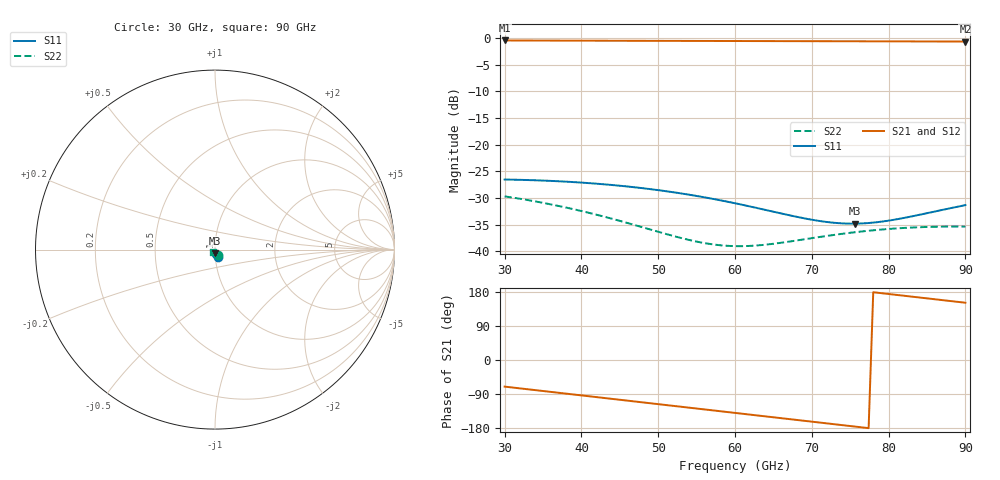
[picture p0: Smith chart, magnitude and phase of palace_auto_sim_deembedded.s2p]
! Created with skrf 1.11.0 (http://scikit-rf.org).
# GHz S DB R 50.0
!freq dBS11 angS11 dBS21 angS21 dBS12 angS12 dBS22 angS22
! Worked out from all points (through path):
!   101 points, 30 GHz to 90 GHz, reference 50 ohm
!   highest |S21| = -0.47 dB at 30 GHz (marker M1); lowest = -0.7 dB at 90 GHz (marker M2)
!   group delay of S21, straight-line fit = 6.42 ps
!   lowest |S11| = -34.8 dB at 75.6 GHz (marker M3), VSWR 1.04, Z = 49.8 - j1.8 ohm
!   |S11| at or under -10 dB: start of sweep to end of sweep
!   |S22| runs from -39.0 to -29.7 dB; largest |S21 - S12| = 1.1e-14
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30  -26.53 -65.7  -0.47 -70.2  -0.47 -70.2  -29.69 -64.4
33  -26.63 -72.7  -0.48 -77.2  -0.48 -77.2  -30.38 -71.2
35.4  -26.75 -78.1  -0.49 -82.7  -0.49 -82.7  -31.01 -76.3
37.8  -26.91 -83.2  -0.50 -88.3  -0.50 -88.3  -31.72 -81.0
40.2  -27.12 -88.2  -0.51 -93.8  -0.51 -93.8  -32.50 -85.4
42.6  -27.38 -92.9  -0.52 -99.4  -0.52 -99.4  -33.35 -89.1
45  -27.69 -97.4  -0.53 -104.9  -0.53 -104.9  -34.27 -92.1
47.4  -28.06 -101.6  -0.54 -110.5  -0.54 -110.5  -35.24 -94.1
50.4  -28.59 -106.3  -0.55 -117.4  -0.55 -117.4  -36.48 -95.0
53.4  -29.23 -110.4  -0.56 -124.4  -0.56 -124.4  -37.63 -93.6
55.8  -29.81 -113.0  -0.56 -129.9  -0.56 -129.9  -38.38 -90.9
58.2  -30.45 -115.1  -0.57 -135.4  -0.57 -135.4  -38.86 -87.3
60  -30.97 -116.1  -0.58 -139.6  -0.58 -139.6  -39.01 -84.3
62.4  -31.72 -116.6  -0.59 -145.1  -0.59 -145.1  -38.93 -81.0
65.4  -32.69 -115.6  -0.60 -152.1  -0.60 -152.1  -38.49 -78.6
70.2  -34.11 -109.3  -0.61 -163.2  -0.61 -163.2  -37.47 -80.0
73.2  -34.67 -102.4  -0.62 -170.1  -0.62 -170.1  -36.85 -83.7
75.6  -34.80 -96.0  -0.63 -175.6  -0.63 -175.6  -36.41 -87.9
78  -34.60 -89.6  -0.64 178.8  -0.64 178.8  -36.04 -93.1
80.4  -34.14 -84.1  -0.64 173.3  -0.64 173.3  -35.75 -99.1
85.2  -32.78 -77.0  -0.66 162.2  -0.66 162.2  -35.41 -112.9
90  -31.33 -74.7  -0.68 151.1  -0.68 151.1  -35.35 -129.0
